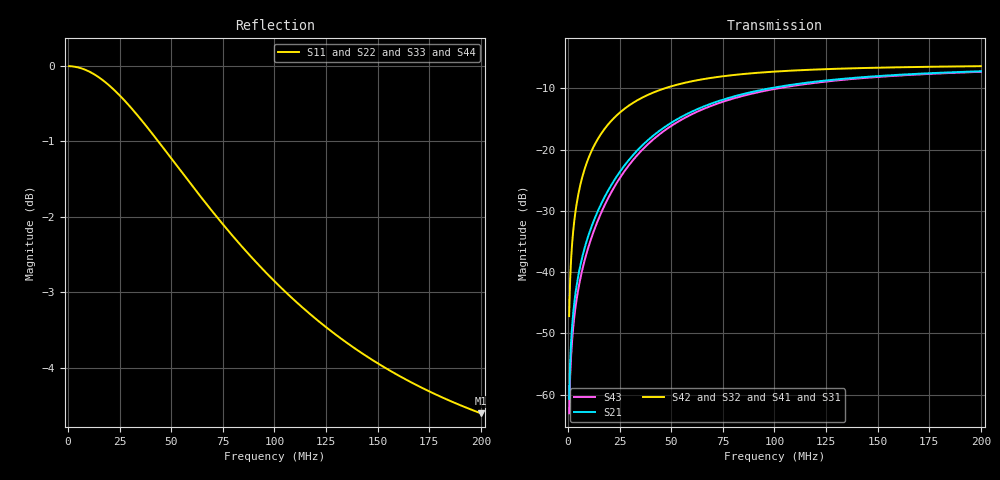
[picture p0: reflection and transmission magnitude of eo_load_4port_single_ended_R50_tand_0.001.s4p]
! Created with skrf 2.0.1 (http://scikit-rf.org).
# Hz S RI R 50.0
!freq ReS11 ImS11 ReS12 ImS12 ReS13 ImS13
! ReS14 ImS14
! ReS21 ImS21 ReS22 ImS22 ReS23 ImS23
! ReS24 ImS24
! ReS31 ImS31 ReS32 ImS32 ReS33 ImS33
! ReS34 ImS34
! ReS41 ImS41 ReS42 ImS42 ReS43 ImS43
! ReS44 ImS44
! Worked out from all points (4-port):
!   400 points, 500 kHz to 200 MHz, reference 50 ohm
!   strongest paths, dB at 500 kHz, 50.5 MHz, 100.5 MHz, 150.5 MHz, 200 MHz:
!     S42: -47.2, -9.6, -7.2, -6.6, -6.4
!     S32: -47.2, -9.6, -7.2, -6.6, -6.4
!     S41: -47.2, -9.6, -7.2, -6.6, -6.4
!     S31: -47.2, -9.6, -7.2, -6.6, -6.4
!     S21: -60.7, -15.5, -9.8, -8.0, -7.2
!     S43: -63.0, -16.0, -10.1, -8.1, -7.3
!   lowest |S11| = -4.6 dB at 200 MHz (marker M1), VSWR 3.86, Z = 17.2 - j27.1 ohm
!   |S11| at or under -10 dB: nowhere
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500000  0.9999 -0.00968  -9.29e-06 0.000925  4.27e-05 0.00438  4.27e-05 0.00438
        -9.29e-06 0.000925  0.9999 -0.00968  4.27e-05 0.00438  4.27e-05 0.00438
        4.27e-05 0.00438  4.27e-05 0.00438  0.9999 -0.00946  -1.18e-05 0.000705
        4.27e-05 0.00438  4.27e-05 0.00438  -1.18e-05 0.000705  0.9999 -0.00946
1500000  0.9994 -0.029  -8.9e-05 0.00278  0.000358 0.0131  0.000358 0.0131
         -8.9e-05 0.00278  0.9994 -0.029  0.000358 0.0131  0.000358 0.0131
         0.000358 0.0131  0.000358 0.0131  0.9994 -0.0284  -0.00011 0.00212
         0.000358 0.0131  0.000358 0.0131  -0.00011 0.00212  0.9994 -0.0284
3000000  0.9976 -0.058  -0.000359 0.00559  0.0014 0.0262  0.0014 0.0262
         -0.000359 0.00559  0.9976 -0.058  0.0014 0.0262  0.0014 0.0262
         0.0014 0.0262  0.0014 0.0262  0.9976 -0.0567  -0.000443 0.00427
         0.0014 0.0262  0.0014 0.0262  -0.000443 0.00427  0.9976 -0.0567
9500000  0.9763 -0.1806  -0.0034 0.0188  0.0135 0.0809  0.0135 0.0809
         -0.0034 0.0188  0.9763 -0.1806  0.0135 0.0809  0.0135 0.0809
         0.0135 0.0809  0.0135 0.0809  0.9771 -0.1766  -0.00421 0.0147
         0.0135 0.0809  0.0135 0.0809  -0.00421 0.0147  0.9771 -0.1766
4.25e7  0.6526 -0.6136  -0.0092 0.1351  0.1783 0.2393  0.1783 0.2393
        -0.0092 0.1351  0.6526 -0.6136  0.1783 0.2393  0.1783 0.2393
        0.1783 0.2393  0.1783 0.2393  0.6641 -0.6031  -0.0208 0.1246
        0.1783 0.2393  0.1783 0.2393  -0.0208 0.1246  0.6641 -0.6031
1.105e8  0.0269 -0.697  0.1841 0.2895  0.3945 0.2038  0.3945 0.2038
         0.1841 0.2895  0.0269 -0.697  0.3945 0.2038  0.3945 0.2038
         0.3945 0.2038  0.3945 0.2038  0.0477 -0.6999  0.1633 0.2924
         0.3945 0.2038  0.3945 0.2038  0.1633 0.2924  0.0477 -0.6999
2e8  -0.2801 -0.5173  0.3557 0.2535  0.4622 0.1319  0.4622 0.1319
     0.3557 0.2535  -0.2801 -0.5173  0.4622 0.1319  0.4622 0.1319
     0.4622 0.1319  0.4622 0.1319  -0.2672 -0.5276  0.3428 0.2638
     0.4622 0.1319  0.4622 0.1319  0.3428 0.2638  -0.2672 -0.5276
